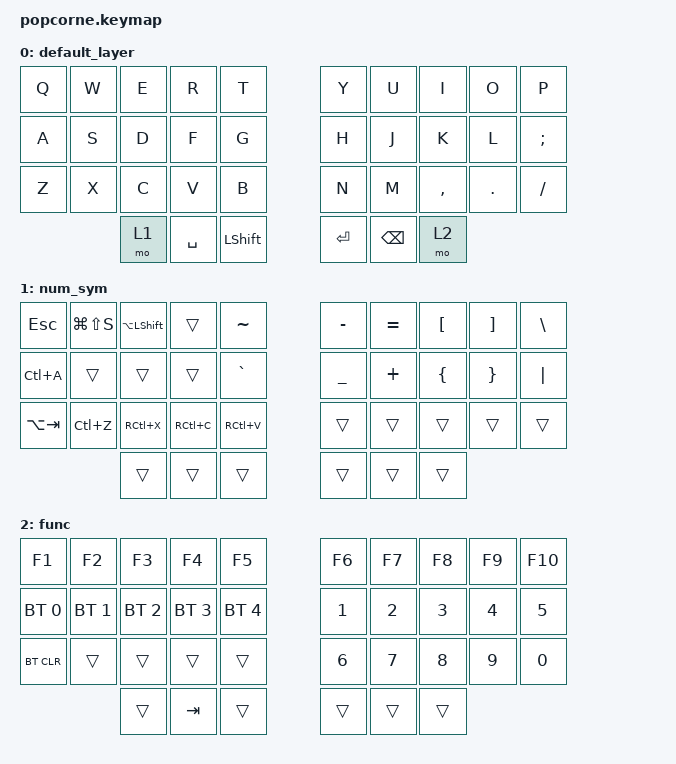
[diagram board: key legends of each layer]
/*
 * Copyright (c) 2020 The ZMK Contributors
 *
 * SPDX-License-Identifier: MIT
 */

#include <behaviors.dtsi>
#include <dt-bindings/zmk/bt.h>
#include <dt-bindings/zmk/keys.h>

&mt {
    tapping-term-ms = <400>;
    quick-tap-ms = <175>;
    require-prior-idle-ms = <150>;
    flavor = "balanced";
};

&lt { tapping-term-ms = <400>; };

/ {
    combos {
        compatible = "zmk,combos";

        combo_esc {
            timeout-ms = <50>;
            key-positions = <1 2 3>;
            bindings = <&kp ESCAPE>;
        };

        combo_bksp {
            timeout-ms = <50>;
            key-positions = <10 9 8>;
            bindings = <&kp BACKSPACE>;
        };

        combo_tab {
            bindings = <&kp TAB>;
            key-positions = <13 14 15>;
        };

        combo_shift {
            bindings = <&kp LEFT_SHIFT>;
            key-positions = <25 26 27>;
        };

        combo_delete {
            bindings = <&kp DELETE>;
            key-positions = <21 22 20>;
        };

        combo_rshift {
            bindings = <&kp RIGHT_SHIFT>;
            key-positions = <33 34 32>;
        };

        exclm {
            bindings = <&kp EXCLAMATION>;
            key-positions = <1 13>;
        };

        at {
            bindings = <&kp AT_SIGN>;
            key-positions = <2 14>;
        };

        hash {
            bindings = <&kp HASH>;
            key-positions = <3 15>;
        };

        dllr {
            bindings = <&kp DOLLAR>;
            key-positions = <4 16>;
        };

        percnt {
            bindings = <&kp PERCENT>;
            key-positions = <5 17>;
        };

        caret {
            bindings = <&kp CARET>;
            key-positions = <6 18>;
        };

        and {
            bindings = <&kp AMPERSAND>;
            key-positions = <7 19>;
        };

        str {
            bindings = <&kp ASTERISK>;
            key-positions = <8 20>;
        };

        leftparen {
            bindings = <&kp LPAR>;
            key-positions = <9 21>;
        };

        rparen {
            bindings = <&kp RPAR>;
            key-positions = <10 22>;
        };

        layout_switch {
            bindings = <&tog 4>;
            key-positions = <36 37 40 41>;
        };

        system_reset {
            bindings = <&sys_reset>;
            key-positions = <3 4 5 14>;
        };

        bootloader {
            bindings = <&bootloader>;
            key-positions = <15 16 17 26>;
        };

        system_layer_combo {
            bindings = <&mo 3>;
            key-positions = <36 37 38>;
        };
    };

    conditional_layers { compatible = "zmk,conditional-layers"; };

    keymap {
        compatible = "zmk,keymap";

        default_layer {
            // ------------------------------------------------------------------------------------------------------
            //         |   Q   |   W   |   E   |   R   |   T   |         |  Y   |   U   |   I   |   O   |   P   |       
            //         |   A   |   S   |   D   |   F   |   G   |         |  H   |   J   |   K   |   L   |   ;   |       
            //         |   Z   |   X   |   C   |   V   |   B   |         |  N   |   M   |   ,   |   .   |   /   |       
            //                         |  LAY1 |  SPC  | LSHIFT|         | ENTER| BCKSPC| LAY2  |
            bindings = <
                &kp Q  &kp W  &kp E   &kp R      &kp T            &kp Y          &kp U          &kp I             &kp O    &kp P     
                &kp A  &kp S  &kp D   &kp F      &kp G            &kp H          &kp J          &kp K             &kp L    &kp SEMI  
                &kp Z  &kp X  &kp C   &kp V      &kp B            &kp N          &kp M          &kp COMMA         &kp DOT  &kp FSLH  
                              &mo 1   &kp SPACE  &kp LSHIFT       &kp RET        &kp BACKSPACE  &mo 2
            >;
        };

        num_sym {
            // -----------------------------------------------------------------------------------------------------
            //         |  ESC  |SCR PIC| LANG  |       |   ~   |         |   -   |   =   |   [   |   ]   |   \   | 
            //         |       |       |       |       |   `   |         |   _   |   +   |   {   |   }   |   |   |
            //         |ALT TAB|SLCTALL|  CUT  |  COPY | PASTE |         |       |       |       |       |       |
            //                         |       |       |       |         |       |       |       |
            bindings = <   
                &kp ESCAPE        &kp LG(LS(S))    &kp LA(LEFT_SHIFT)   &trans           &kp TILDE    &kp MINUS      &kp EQUAL      &kp LBKT   &kp RBKT   &kp BSLH 
                &kp LC(A)         &trans           &trans               &trans           &kp GRAVE    &kp UNDER      &kp PLUS       &kp LBRC   &kp RBRC   &kp PIPE
                &kp LA(TAB)       &kp LC(Z)        &kp RC(X)            &kp RC(C)        &kp RC(V)    &trans         &trans         &trans     &trans     &trans
                                  &trans           &trans               &trans           &trans       &trans         &trans
            >;
        };

        func {
            // ------------------------------------------------------------------------------------------------------
            //         |   F1  |   F2  |   F3  |   F4  |   F5  |         |   F6  |   F7  |   F8  |   F9  |  F10  | 
            //         |  BT1  |  BT2  |  BT3  |  BT4  |  BT5  |         |   1   |   2   |   3   |   4   |   5   | 
            //         | BT CLR|       |       |       |       |         |   6   |   7   |   8   |   9   |   0   | 
            //                         |       |  TAB  |       |         |       |       |       |
            bindings = <
                &kp F1        &kp F2            &kp F3                &kp F4          &kp F5          &kp F6       &kp F7          &kp F8        &kp F9      &kp F10
                &bt BT_SEL 0  &bt BT_SEL 1      &bt BT_SEL 2          &bt BT_SEL 3    &bt BT_SEL 4    &kp N1       &kp N2          &kp N3        &kp N4      &kp N5  
                &bt BT_CLR    &trans            &trans                &trans          &trans          &kp N6       &kp N7          &kp N8        &kp N9      &kp N0
                                                &trans                &kp TAB         &trans          &trans       &trans          &trans
            >;
        };
    };
};
